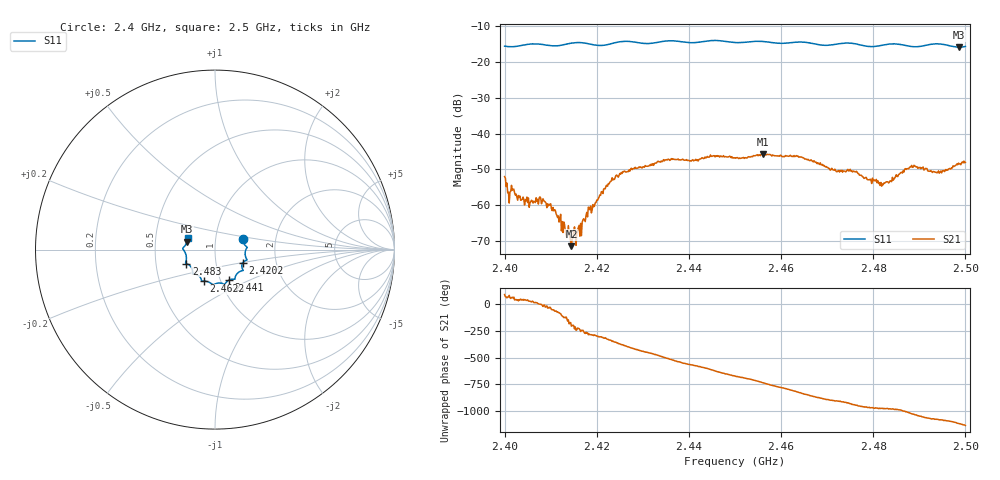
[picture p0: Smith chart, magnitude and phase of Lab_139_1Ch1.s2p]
# Hz S RI R 50
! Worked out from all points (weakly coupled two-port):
!   601 points, 2.4 GHz to 2.5 GHz, reference 50 ohm
!   highest |S21| = -45.75 dB at 2.456 GHz (marker M1); lowest = -71.5 dB at 2.4145 GHz (marker M2)
!   lowest |S11| = -15.8 dB at 2.4987 GHz (marker M3), VSWR 1.39, Z = 36.4 + j3.32 ohm
!   |S11| at or under -10 dB: start of sweep to end of sweep
!   S12 and S22 are empty: the file has one direction only
!   S11 on the Smith chart (normalised r, x): 2.4 GHz: 1.36, +0.17; 2.4202 GHz: 1.35, -0.20; 2.441 GHz: 1.09, -0.39; 2.4622 GHz: 0.83, -0.30; 2.483 GHz: 0.72, -0.12; 2.5 GHz: 0.73, +0.09
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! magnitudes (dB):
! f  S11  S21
! 2.4 GHz  -15.5  -52.1
! 2.4008 GHz  -15.7  -56.4
! 2.402 GHz  -15.7  -55.6
! 2.4032 GHz  -15.5  -57.8
! 2.408 GHz  -15.0  -59.6
! 2.41 GHz  -15.4  -59.7
! 2.4145 GHz  -14.7  -71.5
! 2.4167 GHz  -14.6  -68.6
! 2.4202 GHz  -15.3  -58.7
! 2.4255 GHz  -14.2  -51.2
! 2.4333 GHz  -14.4  -47.7
! 2.441 GHz  -14.6  -47.6
! 2.45 GHz  -14.5  -46.8
! 2.456 GHz  -14.2  -45.7
! 2.4622 GHz  -14.5  -46.3
! 2.4667 GHz  -14.7  -47.6
! 2.483 GHz  -15.0  -53.5
! 2.4833 GHz  -15.0  -53.8
! 2.4885 GHz  -15.7  -49.5
! 2.4943 GHz  -14.9  -51.1
! 2.4987 GHz  -15.8  -48.5
! 2.5 GHz  -15.6  -48.1
